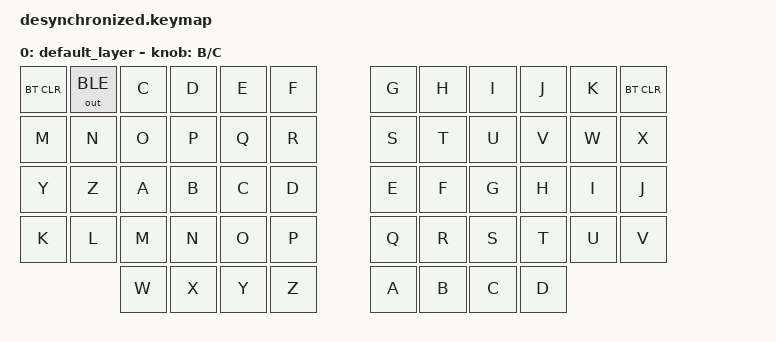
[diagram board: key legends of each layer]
#include <behaviors.dtsi>
#include <dt-bindings/zmk/keys.h>
#include <dt-bindings/zmk/mouse.h>
#include <dt-bindings/zmk/bt.h>
#include <dt-bindings/zmk/outputs.h>

/ {
    keymap {
        compatible = "zmk,keymap";
        default_layer {
            bindings = <
    &bt BT_CLR &out OUT_BLE &kp C &kp D &kp E &kp F         &kp G &kp H &kp I &kp J &kp K &bt BT_CLR
    &kp M &kp N &kp O &kp P &kp Q &kp R         &kp S &kp T &kp U &kp V &kp W &kp X
    &kp Y &kp Z &kp A &kp B &kp C &kp D         &kp E &kp F &kp G &kp H &kp I &kp J
    &kp K &kp L &kp M &kp N &kp O &kp P         &kp Q &kp R &kp S &kp T &kp U &kp V
                &kp W &kp X &kp Y &kp Z         &kp A &kp B &kp C &kp D
            >;
        sensor-bindings = <&inc_dec_kp B C>;
        trackball-bindings = <&tmv>;
        };
    };
};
